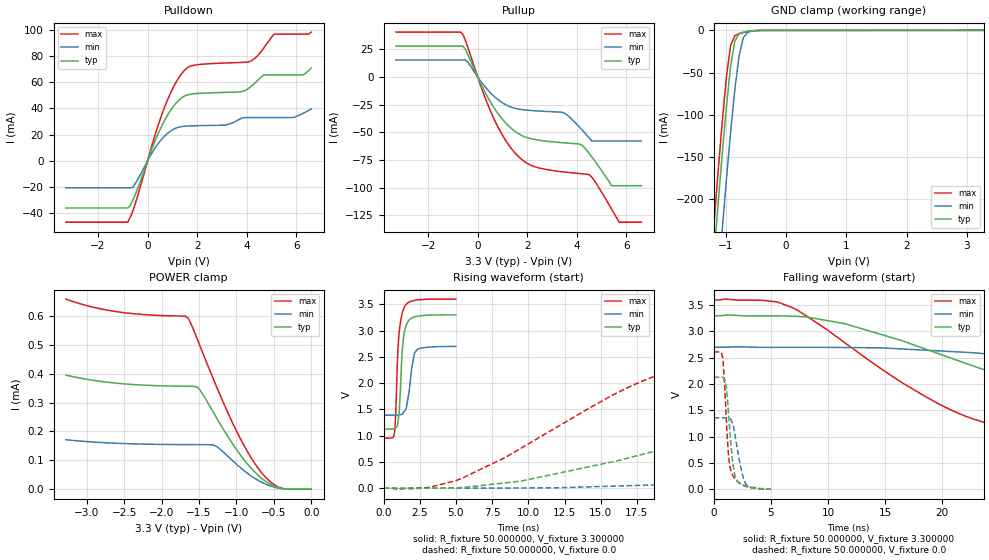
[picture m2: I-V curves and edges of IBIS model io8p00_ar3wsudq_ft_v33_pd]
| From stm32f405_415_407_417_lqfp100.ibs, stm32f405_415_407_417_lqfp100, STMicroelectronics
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|   Model io8p00_ar3wsudq_ft_v33_pd
[Model]  io8p00_ar3wsudq_ft_v33_pd
Model_type I/O
Polarity   Non-Inverting
Enable   Active-Low
Vinl =   0.990000V
Vinh =   2.310000V
Vmeas =  1.650000V
Cref =   50.000000pF
Rref =   100.000000M
Vref =   0.0V
C_comp   3.857500pF   3.762100pF   3.941700pF
[Temperature Range]   25.000000   0.125000k   -40.000000
[Pullup Reference]   3.300000V   2.700000V   3.600000V
[Pulldown Reference]   0.0V   0.0V   0.0V
[POWER Clamp Reference]   3.300000V   2.700000V   3.600000V
[GND Clamp Reference]   0.0V   0.0V   0.0V
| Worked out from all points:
|   slope of the pulldown table from 0 to 0.495 V, typ, clamps not added: 20.9 ohm
|   slope of the pullup table from 0 to 0.495 V, typ, clamps not added: 22.6 ohm
|   GND clamp passes 1 mA (typ) near -0.62 V on its own axis
|   rising waveform, R_fixture 50.000000, V_fixture 3.300000: 20-80 % time 276ps typ, 397ps min, 272ps max; typ from 1.12 V to 3.3 V
|   rising waveform, R_fixture 50.000000, V_fixture 0.0: 20-80 % time 19.7ns typ, 51.9ns min, 10.4ns max; typ from 0 V to 2.13 V
|   falling waveform, R_fixture 50.000000, V_fixture 3.300000: 20-80 % time 18.6ns typ, 38.4ns min, 11.3ns max; typ from 3.3 V to 1.12 V
|   falling waveform, R_fixture 50.000000, V_fixture 0.0: 20-80 % time 513ps typ, 708ps min, 436ps max; typ from 2.13 V to 0 V
[Pulldown]
|Voltage   I(typ)   I(min)   I(max)
-3.3V     -36.18mA   -20.77mA   -47.07mA
-800mV    -36.18mA   -20.77mA   -47.07mA
-600mV    -30.5mA    -20.52mA   -38.69mA
700mV     31.4mA     19.11mA    41.71mA
1.2V      45.15mA    25.37mA    61.75mA
1.6V      50.35mA    26.5mA     71.06mA
3.1V      52.27mA    27.26mA    74.75mA
4.1V      55.7mA     32.99mA    75.8mA
4.7V      65.71mA    32.99mA    86.63mA
5.1V      65.71mA    32.99mA    96.88mA
6.3V      65.85mA    36.49mA    96.88mA
6.6V      70.9mA     39.7mA     98.44mA
[Pullup]
|Voltage   I(typ)   I(min)   I(max)
-3.3V     28.03mA    15.43mA    40.67mA
-700mV    28.03mA    15.43mA    40.67mA
-400mV    20.31mA    13.47mA    26.93mA
600mV     -25.77mA   -16.23mA   -35.13mA
1.6V      -50.64mA   -28.81mA   -70.96mA
2.3V      -56.49mA   -30.48mA   -81.16mA
3.5V      -59.53mA   -32.72mA   -85.92mA
4.2V      -61.52mA   -47.6mA    -87.46mA
4.5V      -69.21mA   -55.14mA   -88.44mA
5.4V      -98.3mA    -57.9mA    -119.4mA
5.7V      -98.3mA    -57.9mA    -131.3mA
6.6V      -98.3mA    -57.9mA    -131.3mA
[GND_clamp]
|Voltage   I(typ)   I(min)   I(max)
-3.3V     -2.333A    -2.407A    -2.313A
-1.2V     -270.2mA   -361.4mA   -232.1mA
-1.13V    -207.3mA   -298.1mA   -169mA
-1.06V    -146.7mA   -236.2mA   -108.8mA
-990mV    -90.18mA   -176.4mA   -54.97mA
-920mV    -42.21mA   -120mA     -17.69mA
-850mV    -12.58mA   -69.47mA   -6.279mA
-780mV    -3.983mA   -30.01mA   -3.9mA
-710mV    -2.112mA   -8.623mA   -2.396mA
-640mV    -1.159mA   -2.292mA   -1.234mA
-570mV    -535.1uA   -830.5uA   -490.2uA
3.28V     81.28uA    57.87uA    93.98uA
[POWER_clamp]
|Voltage   I(typ)   I(min)   I(max)
-3.28V    395.3uA    171.3uA    658.7uA
-2.6V     367.1uA    159uA      614.9uA
-1.68V    356.7uA    154.4uA    599.4uA
-1.64V    356.5uA    154.4uA    590.8uA
-1.52V    353.6uA    154.3uA    518.3uA
-1.48V    341.1uA    154.2uA    492.3uA
-1.28V    253.6uA    150.4uA    364.2uA
-960mV    123.1uA    77.55uA    181.6uA
-720mV    50.52uA    32.03uA    76.18uA
-560mV    18.94uA    12.27uA    28.65uA
-440mV    5.104uA    3.69uA     7.327uA
0V        0A         0A         0A
[Ramp]
| variable   typ   min   max
dV/dt_r  1.27668/19.66164n   0.81522/51.92057n   1.56654/10.38570n
dV/dt_f  1.30572/18.58654n   0.78528/38.57212n   1.58743/11.31090n
R_load = 50.000000
[Rising Waveform]
R_fixture= 50.000000
V_fixture= 3.300000
V_fixture_min= 2.700000
V_fixture_max= 3.600000
|time   V(typ)   V(min)   V(max)
0s        1.123V     1.39V      953.1mV
760.8ps   1.131V     1.39V      1.076V
840.8ps   1.15V      1.39V      1.456V
1.041ns   1.364V     1.394V     2.869V
1.281ns   2.597V     1.408V     3.32V
1.441ns   2.982V     1.469V     3.454V
1.562ns   3.1V       1.52V      3.5V
2.132ns   3.258V     2.57V      3.573V
2.332ns   3.271V     2.644V     3.584V
4.985ns   3.299V     2.699V     3.599V
[Rising Waveform]
R_fixture= 50.000000
V_fixture= 0.0
V_fixture_min= 0.0
V_fixture_max= 0.0
|time   V(typ)   V(min)   V(max)
0s        122.9nV    336.7nV    642.2nV
3.003ns   -461.2uV   -682.5uV   8.405mV
5.506ns   12.51mV    -96.65uV   200.1mV
19.02ns   722.6mV    63.66mV    2.156V
30.53ns   1.491V     229.7mV    2.528V
40.04ns   1.895V     386mV      2.58V
55.06ns   2.057V     671.2mV    2.604V
87.09ns   2.115V     1.113V     2.611V
117.6ns   2.128V     1.3V       2.611V
249.2ns   2.128V     1.358V     2.611V
[Falling Waveform]
R_fixture= 50.000000
V_fixture= 3.300000
V_fixture_min= 2.700000
V_fixture_max= 3.600000
|time   V(typ)   V(min)   V(max)
0s        3.299V     2.699V     3.599V
7.007ns   3.288V     2.697V     3.441V
16.52ns   2.819V     2.666V     2.019V
22.52ns   2.357V     2.597V     1.348V
32.53ns   1.666V     2.393V     1.062V
38.54ns   1.41V      2.26V      1.026V
47.55ns   1.262V     2.05V      993.2mV
62.56ns   1.183V     1.725V     967.2mV
89.59ns   1.144V     1.511V     954.9mV
249.2ns   1.123V     1.39V      953.1mV
[Falling Waveform]
R_fixture= 50.000000
V_fixture= 0.0
V_fixture_min= 0.0
V_fixture_max= 0.0
|time   V(typ)   V(min)   V(max)
0s        2.128V     1.358V     2.611V
780.8ps   2.126V     1.357V     2.489V
860.9ps   2.118V     1.357V     2.293V
1.091ns   1.941V     1.357V     1.358V
1.261ns   1.522V     1.352V     721.8mV
1.411ns   1.091V     1.341V     437.8mV
1.622ns   573.9mV    1.262V     282mV
1.962ns   198.5mV    893mV      169.3mV
2.763ns   53.2mV     118.9mV    62.26mV
4.985ns   122.9nV    336.7nV    642.2nV
